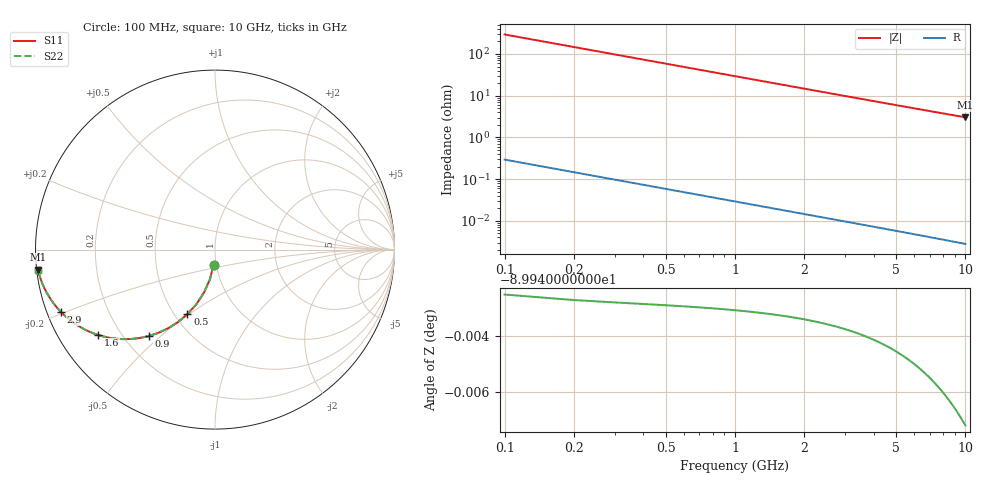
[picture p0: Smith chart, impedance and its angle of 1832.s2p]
# Hz S RI R 50.00
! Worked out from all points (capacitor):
!   100 points, 100 MHz to 10 GHz, reference 50 ohm
!   read as one part in shunt: C = 5.43 pF near 100 MHz
!   lowest |Z| = 3.04 ohm at 10 GHz (marker M1)
!   S11 on the Smith chart (normalised r, x): 100 MHz: 0.97, -0.17; 500 MHz: 0.58, -0.49; 900 MHz: 0.30, -0.46; 1.6 GHz: 0.12, -0.32; 2.9 GHz: 0.04, -0.19; 10 GHz: 0.00, -0.06
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1e8  -0.00729 -0.0846  0.9927 -0.0847  0.9927 -0.0847  -0.00729 -0.0846
2e8  -0.0284 -0.1655  0.9716 -0.1657  0.9716 -0.1657  -0.0284 -0.1655
3e8  -0.0616 -0.2398  0.9384 -0.24  0.9384 -0.24  -0.0616 -0.2398
4e8  -0.1043 -0.3051  0.8956 -0.3054  0.8956 -0.3054  -0.1043 -0.3051
5e8  -0.1539 -0.3602  0.8461 -0.3605  0.8461 -0.3605  -0.1539 -0.3602
6e8  -0.2074 -0.4047  0.7926 -0.4052  0.7926 -0.4052  -0.2074 -0.4047
7e8  -0.2625 -0.4393  0.7375 -0.4397  0.7375 -0.4397  -0.2625 -0.4393
9e8  -0.3702 -0.482  0.6298 -0.4827  0.6298 -0.4827  -0.3702 -0.482
1e9  -0.4203 -0.4928  0.5797 -0.4935  0.5797 -0.4935  -0.4203 -0.4928
1.2e9  -0.5105 -0.499  0.4895 -0.4998  0.4895 -0.4998  -0.5105 -0.499
1.4e9  -0.5865 -0.4915  0.4135 -0.4925  0.4135 -0.4925  -0.5865 -0.4915
1.6e9  -0.6492 -0.4762  0.3508 -0.4773  0.3508 -0.4773  -0.6492 -0.4762
1.8e9  -0.7006 -0.4569  0.2994 -0.4582  0.2994 -0.4582  -0.7006 -0.4569
2e9  -0.7426 -0.436  0.2574 -0.4374  0.2574 -0.4374  -0.7426 -0.436
2.3e9  -0.7921 -0.4045  0.2079 -0.4061  0.2079 -0.4061  -0.7921 -0.4045
2.9e9  -0.858 -0.3475  0.142 -0.3496  0.142 -0.3496  -0.858 -0.3475
3.4e9  -0.8923 -0.3082  0.1076 -0.3106  0.1076 -0.3106  -0.8923 -0.3082
4.2e9  -0.9266 -0.2588  0.0734 -0.2618  0.0734 -0.2618  -0.9266 -0.2588
5.1e9  -0.9489 -0.2178  0.0511 -0.2215  0.0511 -0.2215  -0.9489 -0.2178
6.7e9  -0.9697 -0.1685  0.0303 -0.1734  0.0303 -0.1734  -0.9697 -0.1685
8.4e9  -0.9805 -0.1346  0.0195 -0.1408  0.0195 -0.1408  -0.9805 -0.1346
1e10  -0.9862 -0.1124  0.0138 -0.1198  0.0138 -0.1198  -0.9862 -0.1124
